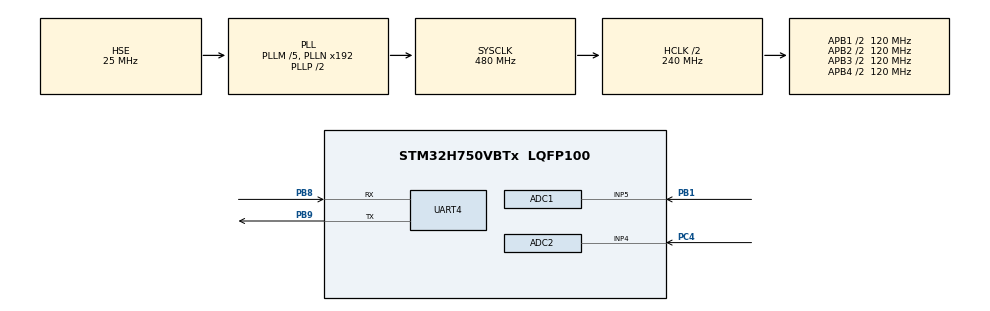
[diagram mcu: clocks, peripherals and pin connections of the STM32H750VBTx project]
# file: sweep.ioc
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ADC1.Channel-0\#ChannelRegularConversion=ADC_CHANNEL_5
ADC1.ClockPrescaler=ADC_CLOCK_ASYNC_DIV2
ADC1.ContinuousConvMode=ENABLE
ADC1.ConversionDataManagement=ADC_CONVERSIONDATA_DMA_ONESHOT
ADC1.DMAAccessModeView=ENABLE
ADC1.EOCSelection=ADC_EOC_SEQ_CONV
ADC1.Mode=ADC_DUALMODE_REGSIMULT
ADC1.NbrOfConversionFlag=1
ADC1.OffsetNumber-0\#ChannelRegularConversion=ADC_OFFSET_NONE
ADC1.OffsetSignedSaturation-0\#ChannelRegularConversion=DISABLE
ADC1.Overrun=ADC_OVR_DATA_OVERWRITTEN
ADC1.Rank-0\#ChannelRegularConversion=1
ADC1.SamplingTime-0\#ChannelRegularConversion=ADC_SAMPLETIME_1CYCLE_5
ADC1.master=1
ADC2.Channel-0\#ChannelRegularConversion=ADC_CHANNEL_4
ADC2.ClockPrescaler=ADC_CLOCK_ASYNC_DIV2
ADC2.DMAAccessModeView=ENABLE
ADC2.EOCSelection=ADC_EOC_SEQ_CONV
ADC2.Mode=ADC_DUALMODE_REGSIMULT
ADC2.NbrOfConversionFlag=1
ADC2.OffsetNumber-0\#ChannelRegularConversion=ADC_OFFSET_NONE
ADC2.OffsetSignedSaturation-0\#ChannelRegularConversion=DISABLE
ADC2.Overrun=ADC_OVR_DATA_OVERWRITTEN
ADC2.Rank-0\#ChannelRegularConversion=1
ADC2.SamplingTime-0\#ChannelRegularConversion=ADC_SAMPLETIME_1CYCLE_5
Dma.ADC1.0.Direction=DMA_PERIPH_TO_MEMORY
Dma.ADC1.0.EventEnable=DISABLE
Dma.ADC1.0.FIFOMode=DMA_FIFOMODE_DISABLE
Dma.ADC1.0.Instance=DMA1_Stream0
Dma.ADC1.0.MemDataAlignment=DMA_MDATAALIGN_WORD
Dma.ADC1.0.MemInc=DMA_MINC_ENABLE
Dma.ADC1.0.Mode=DMA_NORMAL
Dma.ADC1.0.PeriphDataAlignment=DMA_PDATAALIGN_WORD
Dma.ADC1.0.PeriphInc=DMA_PINC_DISABLE
Dma.ADC1.0.Polarity=HAL_DMAMUX_REQ_GEN_RISING
Dma.ADC1.0.Priority=DMA_PRIORITY_LOW
Dma.ADC1.0.RequestNumber=1
Dma.ADC1.0.SignalID=NONE
Dma.ADC1.0.SyncEnable=DISABLE
Dma.ADC1.0.SyncPolarity=HAL_DMAMUX_SYNC_NO_EVENT
Dma.ADC1.0.SyncRequestNumber=1
Dma.ADC1.0.SyncSignalID=NONE
Dma.Request0=ADC1
Mcu.Family=STM32H7
Mcu.Name=STM32H750VBTx
Mcu.Package=LQFP100
NVIC.DMA1_Stream0_IRQn=true\:3\:0\:true\:false\:true\:false\:true
NVIC.PriorityGroup=NVIC_PRIORITYGROUP_2
NVIC.UART4_IRQn=true\:3\:3\:true\:false\:true\:true\:true
PB1.Signal=ADCx_INP5
PB8.Mode=Asynchronous
PB8.Signal=UART4_RX
PB9.Mode=Asynchronous
PB9.Signal=UART4_TX
PC4.Signal=ADCx_INP4
PH0-OSC_IN\ (PH0).Mode=HSE-External-Oscillator
PH0-OSC_IN\ (PH0).Signal=RCC_OSC_IN
PH1-OSC_OUT\ (PH1).Mode=HSE-External-Oscillator
PH1-OSC_OUT\ (PH1).Signal=RCC_OSC_OUT
ProjectManager.HeapSize=0x1000
ProjectManager.StackSize=0x20000
ProjectManager.TargetToolchain=MDK-ARM V5
RCC.ADCCLockSelection=RCC_ADCCLKSOURCE_PLL3
RCC.ADCFreq_Value=51200000
RCC.APB1Freq_Value=120000000
RCC.APB2Freq_Value=120000000
RCC.APB3Freq_Value=120000000
RCC.APB4Freq_Value=120000000
RCC.CKPERSourceSelection=RCC_CLKPSOURCE_CSI
RCC.CortexFreq_Value=480000000
RCC.D1PPRE=RCC_APB3_DIV2
RCC.D2PPRE1=RCC_APB1_DIV2
RCC.D2PPRE2=RCC_APB2_DIV2
RCC.D3PPRE=RCC_APB4_DIV2
RCC.DIVM1=5
RCC.DIVM2=25
RCC.DIVM3=25
RCC.DIVN1=192
RCC.DIVN2=240
RCC.DIVN3=256
RCC.DIVP3=10
RCC.DIVQ3=10
RCC.DIVR3=5
RCC.HCLKFreq_Value=240000000
RCC.HPRE=RCC_HCLK_DIV2
RCC.HRTIMCLockSelection=RCC_HRTIM1CLK_CPUCLK
RCC.LPTIM1CLockSelection=RCC_LPTIM1CLKSOURCE_CLKP
RCC.PLL2FRACN=0
RCC.PLL3FRACN=0
RCC.PLLFRACN=0
RCC.PLLSourceVirtual=RCC_PLLSOURCE_HSE
RCC.SPI123CLockSelection=RCC_SPI123CLKSOURCE_PLL2
RCC.SYSCLKFreq_VALUE=480000000
RCC.SYSCLKSource=RCC_SYSCLKSOURCE_PLLCLK
RCC.USBFreq_Value=480000000
SH.ADCx_INP4.0=ADC2_INP4,IN4-Single-Ended
SH.ADCx_INP5.0=ADC1_INP5,IN5-Single-Ended
VP_VREFBUF_V_VREFBUF.Mode=ExternalMode
board=custom

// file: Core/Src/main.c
/* USER CODE BEGIN Header */
/**
 ******************************************************************************
 * @file           : main.c
 * @brief          : Main program body
 ******************************************************************************
 * @attention
 *
 * <h2><center>&copy; Copyright (c) 2021 STMicroelectronics.
 * All rights reserved.</center></h2>
 *
 * This software component is licensed by ST under BSD 3-Clause license,
 * the "License"; You may not use this file except in compliance with the
 * License. You may obtain a copy of the License at:
 *                        opensource.org/licenses/BSD-3-Clause
 *
 ******************************************************************************
 */
/* USER CODE END Header */
#include "main.h"
#include "adc.h"
#include "dma.h"
#include "usart.h"
#include "gpio.h"

/* USER CODE BEGIN Includes */
#include "string.h"
#include "debug.h"
#include "fft.h"
#include <stdlib.h>
#include "AD9959.h"
/* USER CODE END Includes */

/* USER CODE BEGIN PTD */
#define ADC_DATA_LENGTH 1024
uint32_t g_adc1_dma_data1[ADC_DATA_LENGTH];//定义adc1采集数据存放数组
volatile uint8_t g_adc1_dma_complete_flag = 0;	//adc1数据dma采集完成标志，在dma采集完成
float dataR[1024] = {0};
float dataI[1024] = {0};
float datafR[1024] = {0};
float datafI[1024] = {0};
int f_=11;

/* USER CODE END PTD */

void SystemClock_Config(void);
void PeriphCommonClock_Config(void);

/* USER CODE BEGIN 0 */
void HAL_ADC_ConvCpltCallback(ADC_HandleTypeDef *hadc)
{
	if(hadc->Instance==ADC1)
	{
		g_adc1_dma_complete_flag = 1;//采集完成标志
//		HAL_ADCEx_MultiModeStop_DMA(&hadc1);
	}
}

void ADC_start(uint32_t freq)
{
	RCC_PeriphCLKInitTypeDef PeriphClkInitStruct = {0}; //RCC时钟初始结构体
	ADC_Disable(&hadc1);
	ADC_Disable(&hadc2);
  int f;
	if (freq >= 500000){
    f = 12;
	}else if(freq >= 200000 ){
		f = 11;
	}else if(freq >= 100000 ){
		f = 10;
	}else if(freq >= 50000 ){
		f = 9;
//	}else if(freq >= 20000 ){
//		f = 8;
	}else if(freq >= 10000 ){
		f = 7;
	}else if(freq >= 5000 ){
		f = 6;
	}else if(freq >= 1000){
		f = 5;
//	}else if(freq > 1000){
//		f = 4;
	}else if(freq >= 500){
		f = 3;
//	}else if(freq >= 200){
//		f = 2;
	}else if(freq >= 100){
		f = 1;
	}else{
		f = 0;
	}
	if(f != f_){
		f_ = f;
		HAL_Delay(5);

	if(f < 4){
			HAL_Delay(200);
	}
		switch(f)
		{
			case 0://200ms
				PeriphClkInitStruct.PeriphClockSelection = RCC_PERIPHCLK_ADC;
				PeriphClkInitStruct.PLL3.PLL3M = 25;	//PLL输入25M分频,Max 63
				PeriphClkInitStruct.PLL3.PLL3N = 164;	//PLL分频后倍频,Max 512
				PeriphClkInitStruct.PLL3.PLL3R = 128;	//PLL分频,Max 128
				PeriphClkInitStruct.AdcClockSelection = RCC_ADCCLKSOURCE_PLL3;
				HAL_RCCEx_PeriphCLKConfig(&PeriphClkInitStruct);

				hadc1.Init.ClockPrescaler = ADC_CLOCK_ASYNC_DIV128;//adc内部分频,Max 256,只能倍数
				hadc2.Init.ClockPrescaler = ADC_CLOCK_ASYNC_DIV128;//adc内部分频,Max 256,只能倍数
				HAL_ADC_Init(&hadc1);
				HAL_ADC_Init(&hadc2);
			break;
			case 1://100ms
				PeriphClkInitStruct.PeriphClockSelection = RCC_PERIPHCLK_ADC;
				PeriphClkInitStruct.PLL3.PLL3M = 25;	//PLL输入25M分频,Max 63
				PeriphClkInitStruct.PLL3.PLL3N = 164;	//PLL分频后倍频,Max 512
				PeriphClkInitStruct.PLL3.PLL3R = 128;	//PLL分频,Max 128
				PeriphClkInitStruct.AdcClockSelection = RCC_ADCCLKSOURCE_PLL3;
				HAL_RCCEx_PeriphCLKConfig(&PeriphClkInitStruct);

				hadc1.Init.ClockPrescaler = ADC_CLOCK_ASYNC_DIV64;//adc内部分频,Max 256,只能倍数
				hadc2.Init.ClockPrescaler = ADC_CLOCK_ASYNC_DIV64;//adc内部分频,Max 256,只能倍数
				HAL_ADC_Init(&hadc1);
				HAL_ADC_Init(&hadc2);
			break;
			case 2://50ms
				PeriphClkInitStruct.PeriphClockSelection = RCC_PERIPHCLK_ADC;
				PeriphClkInitStruct.PLL3.PLL3M = 25;	//PLL输入25M分频,Max 63
				PeriphClkInitStruct.PLL3.PLL3N = 164;	//PLL分频后倍频,Max 512
				PeriphClkInitStruct.PLL3.PLL3R = 128;	//PLL分频,Max 128
				PeriphClkInitStruct.AdcClockSelection = RCC_ADCCLKSOURCE_PLL3;
				HAL_RCCEx_PeriphCLKConfig(&PeriphClkInitStruct);

				hadc1.Init.ClockPrescaler = ADC_CLOCK_ASYNC_DIV32;//adc内部分频,Max 256,只能倍数
				hadc2.Init.ClockPrescaler = ADC_CLOCK_ASYNC_DIV32;//adc内部分频,Max 256,只能倍数
				HAL_ADC_Init(&hadc1);
				HAL_ADC_Init(&hadc2);
			break;
			case 3://20ms
				PeriphClkInitStruct.PeriphClockSelection = RCC_PERIPHCLK_ADC;
				PeriphClkInitStruct.PLL3.PLL3M = 25;	//PLL输入25M分频,Max 63
				PeriphClkInitStruct.PLL3.PLL3N = 320;	//PLL分频后倍频,Max 512
				PeriphClkInitStruct.PLL3.PLL3R = 100;	//PLL分频,Max 128
				PeriphClkInitStruct.AdcClockSelection = RCC_ADCCLKSOURCE_PLL3;
				HAL_RCCEx_PeriphCLKConfig(&PeriphClkInitStruct);

				hadc1.Init.ClockPrescaler = ADC_CLOCK_ASYNC_DIV32;//adc内部分频,Max 256,只能倍数
				hadc2.Init.ClockPrescaler = ADC_CLOCK_ASYNC_DIV32;//adc内部分频,Max 256,只能倍数
				HAL_ADC_Init(&hadc1);
				HAL_ADC_Init(&hadc2);
			break;
			case 4://10ms
				PeriphClkInitStruct.PeriphClockSelection = RCC_PERIPHCLK_ADC;
				PeriphClkInitStruct.PLL3.PLL3M = 25;	//PLL输入25M分频,Max 63
				PeriphClkInitStruct.PLL3.PLL3N = 320;	//PLL分频后倍频,Max 512
				PeriphClkInitStruct.PLL3.PLL3R = 100;	//PLL分频,Max 128
				PeriphClkInitStruct.AdcClockSelection = RCC_ADCCLKSOURCE_PLL3;
				HAL_RCCEx_PeriphCLKConfig(&PeriphClkInitStruct);

				hadc1.Init.ClockPrescaler = ADC_CLOCK_ASYNC_DIV16;//adc内部分频,Max 256,只能倍数
				hadc2.Init.ClockPrescaler = ADC_CLOCK_ASYNC_DIV16;//adc内部分频,Max 256,只能倍数
				HAL_ADC_Init(&hadc1);
				HAL_ADC_Init(&hadc2);
			break;
			case 5://5ms
				PeriphClkInitStruct.PeriphClockSelection = RCC_PERIPHCLK_ADC;
				PeriphClkInitStruct.PLL3.PLL3M = 25;	//PLL输入25M分频,Max 63
				PeriphClkInitStruct.PLL3.PLL3N = 320;	//PLL分频后倍频,Max 512
				PeriphClkInitStruct.PLL3.PLL3R = 100;	//PLL分频,Max 128
				PeriphClkInitStruct.AdcClockSelection = RCC_ADCCLKSOURCE_PLL3;
				HAL_RCCEx_PeriphCLKConfig(&PeriphClkInitStruct);

				hadc1.Init.ClockPrescaler = ADC_CLOCK_ASYNC_DIV8;//adc内部分频,Max 256,只能倍数
				hadc2.Init.ClockPrescaler = ADC_CLOCK_ASYNC_DIV8;//adc内部分频,Max 256,只能倍数
				HAL_ADC_Init(&hadc1);
				HAL_ADC_Init(&hadc2);
			break;
			case 6://2ms
				PeriphClkInitStruct.PeriphClockSelection = RCC_PERIPHCLK_ADC;
				PeriphClkInitStruct.PLL3.PLL3M = 25;	//PLL输入25M分频,Max 63
				PeriphClkInitStruct.PLL3.PLL3N = 150;	//PLL分频后倍频,Max 512
				PeriphClkInitStruct.PLL3.PLL3R = 75;	//PLL分频,Max 128
				PeriphClkInitStruct.AdcClockSelection = RCC_ADCCLKSOURCE_PLL3;
				HAL_RCCEx_PeriphCLKConfig(&PeriphClkInitStruct);

				hadc1.Init.ClockPrescaler = ADC_CLOCK_ASYNC_DIV2;//adc内部分频,Max 256,只能倍数
				hadc2.Init.ClockPrescaler = ADC_CLOCK_ASYNC_DIV2;//adc内部分频,Max 256,只能倍数
				HAL_ADC_Init(&hadc1);
				HAL_ADC_Init(&hadc2);
			break;
			case 7://1ms
				PeriphClkInitStruct.PeriphClockSelection = RCC_PERIPHCLK_ADC;
				PeriphClkInitStruct.PLL3.PLL3M = 25;	//PLL输入25M分频,Max 63
				PeriphClkInitStruct.PLL3.PLL3N = 150;	//PLL分频后倍频,Max 512
				PeriphClkInitStruct.PLL3.PLL3R = 75;	//PLL分频,Max 128
				PeriphClkInitStruct.AdcClockSelection = RCC_ADCCLKSOURCE_PLL3;
				HAL_RCCEx_PeriphCLKConfig(&PeriphClkInitStruct);

				hadc1.Init.ClockPrescaler = ADC_CLOCK_ASYNC_DIV1;//adc内部分频,Max 256,只能倍数
				hadc2.Init.ClockPrescaler = ADC_CLOCK_ASYNC_DIV1;//adc内部分频,Max 256,只能倍数
				HAL_ADC_Init(&hadc1);
				HAL_ADC_Init(&hadc2);
			break;
			case 8://500us
				PeriphClkInitStruct.PeriphClockSelection = RCC_PERIPHCLK_ADC;
				PeriphClkInitStruct.PLL3.PLL3M = 25;	//PLL输入25M分频,Max 63
				PeriphClkInitStruct.PLL3.PLL3N = 200;	//PLL分频后倍频,Max 512
				PeriphClkInitStruct.PLL3.PLL3R = 50;	//PLL分频,Max 128
				PeriphClkInitStruct.AdcClockSelection = RCC_ADCCLKSOURCE_PLL3;
				HAL_RCCEx_PeriphCLKConfig(&PeriphClkInitStruct);
				hadc1.Init.ClockPrescaler = ADC_CLOCK_ASYNC_DIV1;//adc内部分频,Max 256,只能倍数
				hadc2.Init.ClockPrescaler = ADC_CLOCK_ASYNC_DIV1;//adc内部分频,Max 256,只能倍数
				HAL_ADC_Init(&hadc1);
				HAL_ADC_Init(&hadc2);
			break;
			case 9://200us
				PeriphClkInitStruct.PeriphClockSelection = RCC_PERIPHCLK_ADC;
				PeriphClkInitStruct.PLL3.PLL3M = 25;	//PLL输入25M分频,Max 63
				PeriphClkInitStruct.PLL3.PLL3N = 200;	//PLL分频后倍频,Max 512
				PeriphClkInitStruct.PLL3.PLL3R = 5;	//PLL分频,Max 128
				PeriphClkInitStruct.AdcClockSelection = RCC_ADCCLKSOURCE_PLL3;
				HAL_RCCEx_PeriphCLKConfig(&PeriphClkInitStruct);

				hadc1.Init.ClockPrescaler = ADC_CLOCK_ASYNC_DIV4;//adc内部分频,Max 256,只能倍数
				hadc2.Init.ClockPrescaler = ADC_CLOCK_ASYNC_DIV4;//adc内部分频,Max 256,只能倍数
				HAL_ADC_Init(&hadc1);
				HAL_ADC_Init(&hadc2);
			break;
			case 10://100us
				PeriphClkInitStruct.PeriphClockSelection = RCC_PERIPHCLK_ADC;
				PeriphClkInitStruct.PLL3.PLL3M = 25;	//PLL输入25M分频,Max 63
				PeriphClkInitStruct.PLL3.PLL3N = 200;	//PLL分频后倍频,Max 512
				PeriphClkInitStruct.PLL3.PLL3R = 5;	//PLL分频,Max 128
				PeriphClkInitStruct.AdcClockSelection = RCC_ADCCLKSOURCE_PLL3;
				HAL_RCCEx_PeriphCLKConfig(&PeriphClkInitStruct);

				hadc1.Init.ClockPrescaler = ADC_CLOCK_ASYNC_DIV2;//adc内部分频,Max 256,只能倍数
				hadc2.Init.ClockPrescaler = ADC_CLOCK_ASYNC_DIV2;//adc内部分频,Max 256,只能倍数
				HAL_ADC_Init(&hadc1);
				HAL_ADC_Init(&hadc2);
			break;
			case 11://50us
				PeriphClkInitStruct.PeriphClockSelection = RCC_PERIPHCLK_ADC;
				PeriphClkInitStruct.PLL3.PLL3M = 25;	//PLL输入25M分频,Max 63
				PeriphClkInitStruct.PLL3.PLL3N = 200;	//PLL分频后倍频,Max 512
				PeriphClkInitStruct.PLL3.PLL3R = 5;	//PLL分频,Max 128
				PeriphClkInitStruct.AdcClockSelection = RCC_ADCCLKSOURCE_PLL3;
				HAL_RCCEx_PeriphCLKConfig(&PeriphClkInitStruct);

				hadc1.Init.ClockPrescaler = ADC_CLOCK_ASYNC_DIV1;//adc内部分频,Max 256,只能倍数
				hadc2.Init.ClockPrescaler = ADC_CLOCK_ASYNC_DIV1;//adc内部分频,Max 256,只能倍数
				HAL_ADC_Init(&hadc1);
				HAL_ADC_Init(&hadc2);
			break;
			case 12://20us
				PeriphClkInitStruct.PeriphClockSelection = RCC_PERIPHCLK_ADC;
				PeriphClkInitStruct.PLL3.PLL3M = 25;	//PLL输入25M分频,Max 63
				PeriphClkInitStruct.PLL3.PLL3N = 360;	//PLL分频后倍频,Max 512
				PeriphClkInitStruct.PLL3.PLL3R = 5;	//PLL分频,Max 128
				PeriphClkInitStruct.AdcClockSelection = RCC_ADCCLKSOURCE_PLL3;
				HAL_RCCEx_PeriphCLKConfig(&PeriphClkInitStruct);

				hadc1.Init.ClockPrescaler = ADC_CLOCK_ASYNC_DIV1;//adc内部分频,Max 256,只能倍数
				hadc2.Init.ClockPrescaler = ADC_CLOCK_ASYNC_DIV1;//adc内部分频,Max 256,只能倍数
				HAL_ADC_Init(&hadc1);
				HAL_ADC_Init(&hadc2);
			break;
			case 13://10us
				PeriphClkInitStruct.PeriphClockSelection = RCC_PERIPHCLK_ADC;
				PeriphClkInitStruct.PLL3.PLL3M = 25;	//PLL输入25M分频,Max 63
				PeriphClkInitStruct.PLL3.PLL3N = 200;	//PLL分频后倍频,Max 512
				PeriphClkInitStruct.PLL3.PLL3R = 5;	//PLL分频,Max 128
				PeriphClkInitStruct.AdcClockSelection = RCC_ADCCLKSOURCE_PLL3;
				HAL_RCCEx_PeriphCLKConfig(&PeriphClkInitStruct);

				hadc1.Init.ClockPrescaler = ADC_CLOCK_ASYNC_DIV1;//adc内部分频,Max 256,只能倍数
				hadc2.Init.ClockPrescaler = ADC_CLOCK_ASYNC_DIV1;//adc内部分频,Max 256,只能倍数
				HAL_ADC_Init(&hadc1);
				HAL_ADC_Init(&hadc2);
			break;
			default:
				PeriphClkInitStruct.PeriphClockSelection = RCC_PERIPHCLK_ADC;
				PeriphClkInitStruct.PLL3.PLL3M = 25;	//PLL输入25M分频,Max 63
				PeriphClkInitStruct.PLL3.PLL3N = 200;	//PLL分频后倍频,Max 512
				PeriphClkInitStruct.PLL3.PLL3R = 5;	//PLL分频,Max 128
				PeriphClkInitStruct.AdcClockSelection = RCC_ADCCLKSOURCE_PLL3;
				HAL_RCCEx_PeriphCLKConfig(&PeriphClkInitStruct);

				hadc1.Init.ClockPrescaler = ADC_CLOCK_ASYNC_DIV1;//adc内部分频,Max 256,只能倍数
				hadc2.Init.ClockPrescaler = ADC_CLOCK_ASYNC_DIV1;//adc内部分频,Max 256,只能倍数
				HAL_ADC_Init(&hadc1);
				HAL_ADC_Init(&hadc2);
				break;
			}
	}
}
/* USER CODE END 0 */

int main(void)
{

  /* MCU Configuration--------------------------------------------------------*/

  /* Reset of all peripherals, Initializes the Flash interface and the Systick. */
  HAL_Init();

  /* USER CODE BEGIN Init */

//  HAL_SYSTICK_Config(HAL_RCC_GetHCLKFreq() / 1000);

  /* USER CODE END Init */

  /* Configure the system clock */
  SystemClock_Config();

/* Configure the peripherals common clocks */
  PeriphCommonClock_Config();

  /* USER CODE BEGIN SysInit */
  HAL_NVIC_SetPriority(SysTick_IRQn,1,0);
  /* USER CODE END SysInit */

  /* Initialize all configured peripherals */
  MX_GPIO_Init();
  MX_UART4_Init();
  MX_DMA_Init();
  MX_ADC1_Init();
  MX_ADC2_Init();
  /* USER CODE BEGIN 2 */
    uint8_t testMsg[] = "test\n";
    uint8_t response[5];
    // 发送测试消息
    int statu = 1;
    // 等待设备的响应
    while (statu)
    {
        HAL_UART_Transmit(&huart4, testMsg, sizeof(testMsg), 1000);
        HAL_StatusTypeDef status = HAL_UART_Receive(&huart4, response, sizeof(response), 1000);
        statu = memcmp(testMsg, response, sizeof(response));
    }

    __HAL_UART_ENABLE_IT(&huart4, UART_IT_RXNE);
  /* USER CODE END 2 */

  /* Infinite loop */
    while (1)
    {

    }
}

void SystemClock_Config(void)
{
  RCC_OscInitTypeDef RCC_OscInitStruct = {0};
  RCC_ClkInitTypeDef RCC_ClkInitStruct = {0};

  /** Supply configuration update enable
  */
  HAL_PWREx_ConfigSupply(PWR_LDO_SUPPLY);
  /** Configure the main internal regulator output voltage
  */
  __HAL_PWR_VOLTAGESCALING_CONFIG(PWR_REGULATOR_VOLTAGE_SCALE0);

  while(!__HAL_PWR_GET_FLAG(PWR_FLAG_VOSRDY)) {}
  /** Macro to configure the PLL clock source
  */
  __HAL_RCC_PLL_PLLSOURCE_CONFIG(RCC_PLLSOURCE_HSE);
  /** Initializes the RCC Oscillators according to the specified parameters
  * in the RCC_OscInitTypeDef structure.
  */
  RCC_OscInitStruct.OscillatorType = RCC_OSCILLATORTYPE_HSE;
  RCC_OscInitStruct.HSEState = RCC_HSE_ON;
  RCC_OscInitStruct.PLL.PLLState = RCC_PLL_ON;
  RCC_OscInitStruct.PLL.PLLSource = RCC_PLLSOURCE_HSE;
  RCC_OscInitStruct.PLL.PLLM = 5;
  RCC_OscInitStruct.PLL.PLLN = 192;
  RCC_OscInitStruct.PLL.PLLP = 2;
  RCC_OscInitStruct.PLL.PLLQ = 2;
  RCC_OscInitStruct.PLL.PLLR = 2;
  RCC_OscInitStruct.PLL.PLLRGE = RCC_PLL1VCIRANGE_2;
  RCC_OscInitStruct.PLL.PLLVCOSEL = RCC_PLL1VCOWIDE;
  RCC_OscInitStruct.PLL.PLLFRACN = 0;
  if (HAL_RCC_OscConfig(&RCC_OscInitStruct) != HAL_OK)
  {
    Error_Handler();
  }
  /** Initializes the CPU, AHB and APB buses clocks
  */
  RCC_ClkInitStruct.ClockType = RCC_CLOCKTYPE_HCLK|RCC_CLOCKTYPE_SYSCLK
                              |RCC_CLOCKTYPE_PCLK1|RCC_CLOCKTYPE_PCLK2
                              |RCC_CLOCKTYPE_D3PCLK1|RCC_CLOCKTYPE_D1PCLK1;
  RCC_ClkInitStruct.SYSCLKSource = RCC_SYSCLKSOURCE_PLLCLK;
  RCC_ClkInitStruct.SYSCLKDivider = RCC_SYSCLK_DIV1;
  RCC_ClkInitStruct.AHBCLKDivider = RCC_HCLK_DIV2;
  RCC_ClkInitStruct.APB3CLKDivider = RCC_APB3_DIV2;
  RCC_ClkInitStruct.APB1CLKDivider = RCC_APB1_DIV2;
  RCC_ClkInitStruct.APB2CLKDivider = RCC_APB2_DIV2;
  RCC_ClkInitStruct.APB4CLKDivider = RCC_APB4_DIV2;

  if (HAL_RCC_ClockConfig(&RCC_ClkInitStruct, FLASH_LATENCY_4) != HAL_OK)
  {
    Error_Handler();
  }
}

void PeriphCommonClock_Config(void)
{
  RCC_PeriphCLKInitTypeDef PeriphClkInitStruct = {0};

  /** Initializes the peripherals clock
  */
  PeriphClkInitStruct.PeriphClockSelection = RCC_PERIPHCLK_ADC;
  PeriphClkInitStruct.PLL3.PLL3M = 25;
  PeriphClkInitStruct.PLL3.PLL3N = 200;
  PeriphClkInitStruct.PLL3.PLL3P = 10;
  PeriphClkInitStruct.PLL3.PLL3Q = 10;
  PeriphClkInitStruct.PLL3.PLL3R = 4;
  PeriphClkInitStruct.PLL3.PLL3RGE = RCC_PLL3VCIRANGE_0;
  PeriphClkInitStruct.PLL3.PLL3VCOSEL = RCC_PLL3VCOWIDE;
  PeriphClkInitStruct.PLL3.PLL3FRACN = 0;
  PeriphClkInitStruct.AdcClockSelection = RCC_ADCCLKSOURCE_PLL3;
  if (HAL_RCCEx_PeriphCLKConfig(&PeriphClkInitStruct) != HAL_OK)
  {
    Error_Handler();
  }
}

/* USER CODE BEGIN 4 */
void ADC_fft_collect(uint32_t freq)
{
    // float RMS = 0.0;
    uint32_t i = 0;
		AD9958_Set_Freq(freq);            // AD9958两个通道同时输出，单位：Hz
		  AD9958_SetPhase2Channel(0, 0);     // 通道0、通道1相位调节输出，单位：度
    AD9958_SetAmp2Channel(1023, 1023); // 通道0、通道1幅值调节输出，，单位：DAC分辨率

    ADC_start(freq);
		while(((((g_adc1_dma_data1[0])>>16)&0x0000ffff)== 0)||(((g_adc1_dma_data1[0])&0x0000ffff)== 0)){
			HAL_ADCEx_MultiModeStart_DMA(&hadc1,g_adc1_dma_data1,ADC_DATA_LENGTH);//ADC的dma开始采集
			 while (g_adc1_dma_complete_flag == 0)
			{
						HAL_Delay(20);		//延时
			}
			 g_adc1_dma_complete_flag = 0;
		}
    memset(dataI, 0, 1024 * sizeof(float));

    for (i = 0; i < 1024; i++)
    {
        dataR[i] = ((float)(g_adc1_dma_data1[i] & 0x0000ffff) - 32768) * 3.3f / 65536;
    }
    kfft(dataR, dataI, 1024, 10, datafR, datafI);
//				dataR[0]=0;
    for (i = 0; i < 1024; i++)
    {
        printf("%f\r\n", dataR[i] / 1024);
			  printf("%f\r\n", atan2(datafI[i],datafR[i]));
    }
    memset(dataI, 0, 1024 * sizeof(float));
    for (i = 0; i < 1024; i++)
    {
        dataR[i] = ((float)(((g_adc1_dma_data1[i])>>16)&0x0000ffff) - 32768) * 3.3f / 65536;
    }
    kfft(dataR, dataI, 1024, 10, datafR, datafI);
//		dataR[0]=0;
    for (i = 0; i < 1024; i++)
    {
        printf("%f\r\n", dataR[i] / 1024);
			  printf("%f\r\n", atan2(datafI[i],datafR[i]));
    }
		memset(g_adc1_dma_data1,0,ADC_DATA_LENGTH);//清除数据
}
void ADC_fft_sweep(uint32_t freq)
{
	  AD9958_Set_Freq(freq);            // AD9958两个通道同时输出，单位：Hz
		AD9958_SetPhase2Channel(0, 0);     // 通道0、通道1相位调节输出，单位：度
    AD9958_SetAmp2Channel(1023, 1023); // 通道0、通道1幅值调节输出，，单位：DAC分辨率

    float RMS1 = 0.0f;
		float RMS2 = 0.0f;
	  float maxA = 0.0f;
	  int maxi_1 = 0;
	  int maxi_2 = 0;
    uint32_t i = 0;
		memset(dataI, 0, 1024 * sizeof(float));
    ADC_start(freq);

		while(((((g_adc1_dma_data1[0])>>16)&0x0000ffff)== 0)||(((g_adc1_dma_data1[0])&0x0000ffff)== 0)){
			HAL_ADCEx_MultiModeStart_DMA(&hadc1,g_adc1_dma_data1,ADC_DATA_LENGTH);//ADC的dma开始采集
			 while (g_adc1_dma_complete_flag == 0)
			{
						HAL_Delay(20);		//延时
			}
			 g_adc1_dma_complete_flag = 0;
		}

    for (i = 0; i < 1024; i++)
    {
        dataR[i] = ((float)(g_adc1_dma_data1[i] & 0x0000ffff) - 32768) * 3.3f / 65536;
    }
    kfft(dataR, dataI, 1024, 10, datafR, datafI);
//				dataR[0]=0;
    for (i = 3; i < 1022; i++)
    {
			RMS1 += dataR[i] * dataR[i];
			if(i < 512){
				 if (dataR[i] > maxA){
					 maxA = dataR[i];
					 maxi_1 = i;
				 }
			}
		}
		float PH1 = atan2(datafI[maxi_1],datafR[maxi_1]);
		RMS1 = sqrt(RMS1);
		maxA = 0;
    for (i = 0; i < 1024; i++)
    {
        dataR[i] = ((float)(((g_adc1_dma_data1[i])>>16)&0x0000ffff) - 32768) * 3.3f / 65536;
    }
    kfft(dataR, dataI, 1024, 10, datafR, datafI);
    for (i = 3; i < 1022; i++)
    {
			RMS2 += dataR[i] * dataR[i];
			if(i < 512){
				 if (dataR[i] > maxA){
					 maxA = dataR[i];
					 maxi_2 = i;
				 }
			}
    }
		float PH2 = atan2(datafI[maxi_2],datafR[maxi_2]);
    RMS2 = sqrt(RMS2);
		RMS2 = RMS1/RMS2;
    printf("%f\r\n",RMS2);
		float phase_diff = PH1 - PH2;
		while (phase_diff > 3.14159f) {
			phase_diff -= 2.0f * 3.14159f;
		}
		while (phase_diff < -3.14159f) {
			phase_diff += 2.0f * 3.14159f;
		}
    printf("%f\r\n",phase_diff/ 3.14159f * 180);
		memset(g_adc1_dma_data1,0,ADC_DATA_LENGTH);//清除数据
}
/* USER CODE END 4 */

void Error_Handler(void)
{
    __disable_irq();
    while (1)
    {
    }
}

/************************ (C) COPYRIGHT STMicroelectronics *****END OF FILE****/
